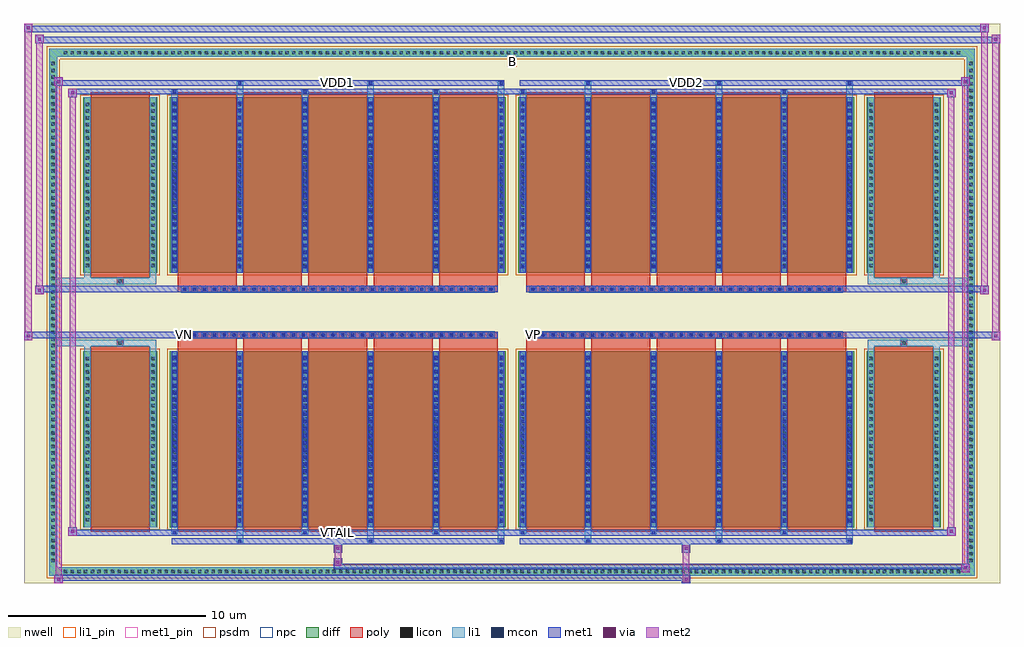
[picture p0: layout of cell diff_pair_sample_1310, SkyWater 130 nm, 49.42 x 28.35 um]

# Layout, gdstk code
import gdstk
lib = gdstk.Library(unit=1e-6, precision=5e-09)
def R(c, l, rs):  # rectangles x0, y0, x1, y1
    for r in rs: c.add(gdstk.rectangle(r[:2], r[2:], *l))
def A(c, l, x, y, w, h, nx, ny, dx, dy):  # array of equal rectangles
    R(c, l, [(x+i*dx, y+j*dy, x+i*dx+w, y+j*dy+h) for i in range(nx) for j in range(ny)])
def P(c, l, *ps):  # polygons
    for p in ps: c.add(gdstk.Polygon(p, *l))
nwell = (64, 20)
diff = (65, 20)
poly = (66, 20)
licon = (66, 44)
li1_pin = (67, 16)
li1 = (67, 20)
mcon = (67, 44)
met1_pin = (68, 16)
met1 = (68, 20)
via = (68, 44)
met2 = (69, 20)
psdm = (94, 20)
npc = (95, 20)

diff_pair_sample_1310 = lib.new_cell('diff_pair_sample_1310')
R(diff_pair_sample_1310, nwell, [(-24.71,-13.74,24.71,14.61), (-22.03,-11.93,-0.01,-0.795), (0.01,-11.93,22.03,-0.795), (-22.03,0.795,-0.01,11.93), (0.01,0.795,22.03,11.93)])
A(diff_pair_sample_1310, diff, -22.815, -13.34, 0.41, 0.41, 134, 2, 0.34, 26.27)
A(diff_pair_sample_1310, diff, -23.44, -12.785, 0.41, 0.41, 1, 75, 0, 0.34)
A(diff_pair_sample_1310, diff, 23.03, -12.785, 0.41, 0.41, 1, 75, 0, 0.34)
R(diff_pair_sample_1310, diff, [(-22.815,-13.34,22.815,-12.93), (-23.44,-12.785,-23.03,12.785), (23.03,-12.785,23.44,12.785), (-21.72,-10.885,-17.96,-1.985), (-17.32,-10.885,-0.32,-1.985), (0.32,-10.885,17.32,-1.985), (17.96,-10.885,21.72,-1.985), (-21.72,1.985,-17.96,10.885), (-17.32,1.985,-0.32,10.885), (0.32,1.985,17.32,10.885), (17.96,1.985,21.72,10.885), (-22.815,12.93,22.815,13.34)])
P(diff_pair_sample_1310, diff, [(23.44,13.34),(-23.44,13.34),(-23.44,-12.93),(-23.03,-12.93),(-23.03,12.93),(23.03,12.93),(23.03,-12.93),(-23.03,-12.93),(-23.44,-12.93),(-23.44,-13.34),(23.44,-13.34)])
A(diff_pair_sample_1310, poly, -16.93, -11.135, 2.98, 9.4, 5, 2, 3.31, 12.87)
A(diff_pair_sample_1310, poly, 0.71, -11.135, 2.98, 9.4, 5, 2, 3.31, 12.87)
A(diff_pair_sample_1310, poly, -16.93, -1.735, 2.98, 0.41, 5, 2, 3.31, 3.06)
A(diff_pair_sample_1310, poly, 0.71, -1.735, 2.98, 0.41, 5, 2, 3.31, 3.06)
A(diff_pair_sample_1310, poly, -16.735, -1.325, 0.33, 0.33, 32, 2, 0.5, 2.32)
A(diff_pair_sample_1310, poly, 0.905, -1.325, 0.33, 0.33, 32, 2, 0.5, 2.32)
R(diff_pair_sample_1310, poly, [(-21.33,-11.135,-18.35,-1.735), (18.35,-11.135,21.33,-1.735), (-20.005,-1.735,-19.675,-1.405), (-20.005,-1.735,-19.675,-1.405), (19.675,-1.735,20.005,-1.405), (19.675,-1.735,20.005,-1.405), (-16.93,-1.325,-0.71,-0.995), (0.71,-1.325,16.93,-0.995), (-16.93,0.995,-0.71,1.325), (0.71,0.995,16.93,1.325), (-20.005,1.405,-19.675,1.735), (-20.005,1.405,-19.675,1.735), (19.675,1.405,20.005,1.735), (19.675,1.405,20.005,1.735), (-21.33,1.735,-18.35,11.135), (18.35,1.735,21.33,11.135)])
A(diff_pair_sample_1310, licon, -22.695, -13.22, 0.17, 0.17, 134, 2, 0.34, 26.27)
A(diff_pair_sample_1310, licon, -23.32, -12.665, 0.17, 0.17, 1, 75, 0, 0.34)
A(diff_pair_sample_1310, licon, 23.15, -12.665, 0.17, 0.17, 1, 75, 0, 0.34)
A(diff_pair_sample_1310, licon, -21.58, -10.6, 0.17, 0.17, 1, 25, 0, 0.34)
A(diff_pair_sample_1310, licon, -18.27, -10.6, 0.17, 0.17, 1, 25, 0, 0.34)
A(diff_pair_sample_1310, licon, -17.18, -10.6, 0.17, 0.17, 6, 25, 3.31, 0.34)
A(diff_pair_sample_1310, licon, 0.46, -10.6, 0.17, 0.17, 6, 25, 3.31, 0.34)
A(diff_pair_sample_1310, licon, 18.1, -10.6, 0.17, 0.17, 1, 25, 0, 0.34)
A(diff_pair_sample_1310, licon, 21.41, -10.6, 0.17, 0.17, 1, 25, 0, 0.34)
A(diff_pair_sample_1310, licon, -16.655, -1.245, 0.17, 0.17, 32, 2, 0.5, 2.32)
A(diff_pair_sample_1310, licon, 0.985, -1.245, 0.17, 0.17, 32, 2, 0.5, 2.32)
A(diff_pair_sample_1310, licon, -21.58, 2.27, 0.17, 0.17, 1, 25, 0, 0.34)
A(diff_pair_sample_1310, licon, -18.27, 2.27, 0.17, 0.17, 1, 25, 0, 0.34)
A(diff_pair_sample_1310, licon, -17.18, 2.27, 0.17, 0.17, 6, 25, 3.31, 0.34)
A(diff_pair_sample_1310, licon, 0.46, 2.27, 0.17, 0.17, 6, 25, 3.31, 0.34)
A(diff_pair_sample_1310, licon, 18.1, 2.27, 0.17, 0.17, 1, 25, 0, 0.34)
A(diff_pair_sample_1310, licon, 21.41, 2.27, 0.17, 0.17, 1, 25, 0, 0.34)
R(diff_pair_sample_1310, licon, [(-19.925,-1.655,-19.755,-1.485), (19.755,-1.655,19.925,-1.485), (-19.925,1.485,-19.755,1.655), (19.755,1.485,19.925,1.655)])
R(diff_pair_sample_1310, li1_pin, [(-0.25,12.43,0.25,12.93)])
A(diff_pair_sample_1310, li1, -22.775, -13.3, 0.33, 0.33, 134, 2, 0.34, 26.27)
A(diff_pair_sample_1310, li1, -23.4, -12.745, 0.33, 0.33, 1, 75, 0, 0.34)
A(diff_pair_sample_1310, li1, 23.07, -12.745, 0.33, 0.33, 1, 75, 0, 0.34)
A(diff_pair_sample_1310, li1, -13.95, -11.69, 0.33, 0.805, 3, 2, 6.62, 22.575)
A(diff_pair_sample_1310, li1, -13.87, -11.69, 0.17, 0.17, 3, 2, 6.62, 23.21)
A(diff_pair_sample_1310, li1, 3.69, -11.69, 0.33, 0.805, 3, 2, 6.62, 22.575)
A(diff_pair_sample_1310, li1, 3.77, -11.69, 0.17, 0.17, 3, 2, 6.62, 23.21)
A(diff_pair_sample_1310, li1, -17.26, -11.26, 0.33, 0.375, 3, 2, 6.62, 22.145)
A(diff_pair_sample_1310, li1, -17.18, -11.26, 0.17, 0.17, 3, 2, 6.62, 22.35)
A(diff_pair_sample_1310, li1, 0.38, -11.26, 0.33, 0.375, 3, 2, 6.62, 22.145)
A(diff_pair_sample_1310, li1, 0.46, -11.26, 0.17, 0.17, 3, 2, 6.62, 22.35)
A(diff_pair_sample_1310, li1, -17.26, -10.885, 0.33, 8.9, 6, 2, 3.31, 12.87)
A(diff_pair_sample_1310, li1, 0.38, -10.885, 0.33, 8.9, 6, 2, 3.31, 12.87)
A(diff_pair_sample_1310, li1, -21.66, -10.68, 0.33, 0.33, 1, 25, 0, 0.34)
A(diff_pair_sample_1310, li1, -18.35, -10.68, 0.33, 0.33, 1, 25, 0, 0.34)
A(diff_pair_sample_1310, li1, -17.26, -10.68, 0.33, 0.33, 6, 25, 3.31, 0.34)
A(diff_pair_sample_1310, li1, 0.38, -10.68, 0.33, 0.33, 6, 25, 3.31, 0.34)
A(diff_pair_sample_1310, li1, 18.02, -10.68, 0.33, 0.33, 1, 25, 0, 0.34)
A(diff_pair_sample_1310, li1, 21.33, -10.68, 0.33, 0.33, 1, 25, 0, 0.34)
A(diff_pair_sample_1310, li1, -17.18, -10.66, 0.17, 0.17, 6, 24, 3.31, 0.36)
A(diff_pair_sample_1310, li1, -17.18, -10.66, 0.17, 8.45, 6, 2, 3.31, 12.87)
A(diff_pair_sample_1310, li1, 0.46, -10.66, 0.17, 0.17, 6, 24, 3.31, 0.36)
A(diff_pair_sample_1310, li1, 0.46, -10.66, 0.17, 8.45, 6, 2, 3.31, 12.87)
A(diff_pair_sample_1310, li1, -16.735, -1.325, 0.33, 0.33, 32, 2, 0.5, 2.32)
A(diff_pair_sample_1310, li1, 0.905, -1.325, 0.33, 0.33, 32, 2, 0.5, 2.32)
A(diff_pair_sample_1310, li1, -21.66, 2.19, 0.33, 0.33, 1, 25, 0, 0.34)
A(diff_pair_sample_1310, li1, -18.35, 2.19, 0.33, 0.33, 1, 25, 0, 0.34)
A(diff_pair_sample_1310, li1, -17.26, 2.19, 0.33, 0.33, 6, 25, 3.31, 0.34)
A(diff_pair_sample_1310, li1, 0.38, 2.19, 0.33, 0.33, 6, 25, 3.31, 0.34)
A(diff_pair_sample_1310, li1, 18.02, 2.19, 0.33, 0.33, 1, 25, 0, 0.34)
A(diff_pair_sample_1310, li1, 21.33, 2.19, 0.33, 0.33, 1, 25, 0, 0.34)
A(diff_pair_sample_1310, li1, -17.18, 2.21, 0.17, 0.17, 6, 24, 3.31, 0.36)
A(diff_pair_sample_1310, li1, 0.46, 2.21, 0.17, 0.17, 6, 24, 3.31, 0.36)
R(diff_pair_sample_1310, li1, [(-23.44,-13.34,-23.03,-12.93), (-23.44,-13.34,-23.03,-12.93), (-23.03,-13.34,23.03,-12.93), (23.03,-13.34,23.44,-12.93), (23.03,-13.34,23.44,-12.93), (-23.44,-12.93,-23.03,12.93), (23.03,-12.93,23.44,12.93), (-21.66,-10.885,-21.33,-1.985), (-18.35,-10.885,-18.02,-1.985), (18.02,-10.885,18.35,-1.985), (21.33,-10.885,21.66,-1.985), (-21.66,-1.985,-21.33,-1.405), (-18.35,-1.985,-18.02,-1.405), (18.02,-1.985,18.35,-1.405), (21.33,-1.985,21.66,-1.405), (-23.44,-1.735,-20.005,-1.405), (-21.66,-1.735,-20.005,-1.405), (-20.005,-1.735,-19.675,-1.405), (-19.675,-1.735,-18.02,-1.405), (18.02,-1.735,19.675,-1.405), (19.675,-1.735,20.005,-1.405), (19.675,-1.735,23.44,-1.405), (20.005,-1.735,21.66,-1.405), (-23.44,1.405,-20.005,1.735), (-21.66,1.405,-20.005,1.735), (-21.66,1.405,-21.33,1.985), (-20.005,1.405,-19.675,1.735), (-19.675,1.405,-18.02,1.735), (-18.35,1.405,-18.02,1.985), (18.02,1.405,19.675,1.735), (18.02,1.405,18.35,1.985), (19.675,1.405,20.005,1.735), (19.675,1.405,23.44,1.735), (20.005,1.405,21.66,1.735), (21.33,1.405,21.66,1.985), (-21.66,1.985,-21.33,10.885), (-18.35,1.985,-18.02,10.885), (18.02,1.985,18.35,10.885), (21.33,1.985,21.66,10.885), (-23.44,12.93,-23.03,13.34), (-23.44,12.93,-23.03,13.34), (-23.03,12.93,23.03,13.34), (23.03,12.93,23.44,13.34), (23.03,12.93,23.44,13.34)])
A(diff_pair_sample_1310, mcon, -13.87, -11.69, 0.17, 0.17, 3, 2, 6.62, 23.21)
A(diff_pair_sample_1310, mcon, 3.77, -11.69, 0.17, 0.17, 3, 2, 6.62, 23.21)
A(diff_pair_sample_1310, mcon, -17.18, -11.26, 0.17, 0.17, 3, 2, 6.62, 22.35)
A(diff_pair_sample_1310, mcon, 0.46, -11.26, 0.17, 0.17, 3, 2, 6.62, 22.35)
A(diff_pair_sample_1310, mcon, -17.18, -10.66, 0.17, 0.17, 6, 24, 3.31, 0.36)
A(diff_pair_sample_1310, mcon, 0.46, -10.66, 0.17, 0.17, 6, 24, 3.31, 0.36)
A(diff_pair_sample_1310, mcon, -16.655, -1.245, 0.17, 0.17, 32, 2, 0.5, 2.32)
A(diff_pair_sample_1310, mcon, 0.985, -1.245, 0.17, 0.17, 32, 2, 0.5, 2.32)
A(diff_pair_sample_1310, mcon, -17.18, 2.21, 0.17, 0.17, 6, 24, 3.31, 0.36)
A(diff_pair_sample_1310, mcon, 0.46, 2.21, 0.17, 0.17, 6, 24, 3.31, 0.36)
R(diff_pair_sample_1310, met1_pin, [(-8.955,-11.3,-8.685,-11.03), (-16.705,-1.285,-16.435,-1.015), (0.935,-1.285,1.205,-1.015), (-8.955,11.48,-8.685,11.75), (8.685,11.48,8.955,11.75)])
A(diff_pair_sample_1310, met1, -13.93, -11.75, 0.29, 0.29, 3, 2, 6.62, 23.21)
A(diff_pair_sample_1310, met1, 3.71, -11.75, 0.29, 0.29, 3, 2, 6.62, 23.21)
A(diff_pair_sample_1310, met1, -17.24, -11.32, 0.29, 0.29, 3, 2, 6.62, 22.35)
A(diff_pair_sample_1310, met1, 0.4, -11.32, 0.29, 0.29, 3, 2, 6.62, 22.35)
A(diff_pair_sample_1310, met1, -17.24, -10.885, 0.29, 8.9, 6, 2, 3.31, 12.87)
A(diff_pair_sample_1310, met1, 0.4, -10.885, 0.29, 8.9, 6, 2, 3.31, 12.87)
A(diff_pair_sample_1310, met1, -17.24, -10.72, 0.29, 0.29, 6, 24, 3.31, 0.36)
A(diff_pair_sample_1310, met1, 0.4, -10.72, 0.29, 0.29, 6, 24, 3.31, 0.36)
A(diff_pair_sample_1310, met1, -16.715, -1.305, 0.29, 0.29, 32, 2, 0.5, 2.32)
A(diff_pair_sample_1310, met1, 0.925, -1.305, 0.29, 0.29, 32, 2, 0.5, 2.32)
A(diff_pair_sample_1310, met1, -17.24, 2.15, 0.29, 0.29, 6, 24, 3.31, 0.36)
A(diff_pair_sample_1310, met1, 0.4, 2.15, 0.29, 0.29, 6, 24, 3.31, 0.36)
R(diff_pair_sample_1310, met1, [(-23.17,-13.74,-22.74,-13.31), (8.605,-13.74,9.035,-13.31), (-23.17,-13.6,9.035,-13.31), (22.74,-13.17,23.17,-12.74), (-9.035,-13.03,23.17,-12.74), (-9.035,-12.89,-8.605,-12.46), (-9.035,-12.18,-8.605,-11.75), (8.605,-12.18,9.035,-11.75), (-17.24,-11.75,-0.4,-11.46), (0.4,-11.75,17.24,-11.46), (-22.46,-11.32,-22.03,-10.89), (-22.46,-11.32,-17.24,-11.03), (-17.24,-11.32,-0.4,-11.03), (-0.4,-11.32,0.4,-11.03), (0.4,-11.32,17.24,-11.03), (17.24,-11.32,22.46,-11.03), (22.03,-11.32,22.46,-10.89), (-24.71,-1.425,-24.28,-0.995), (24.28,-1.425,24.71,-0.995), (-24.71,-1.325,-0.71,-0.995), (-16.93,-1.325,-0.71,-0.995), (0.71,-1.325,16.93,-0.995), (0.71,-1.325,24.71,-0.995), (-24.14,0.895,-23.71,1.325), (23.71,0.895,24.14,1.325), (-24.14,0.995,-16.93,1.325), (-16.93,0.995,-0.71,1.325), (0.71,0.995,16.93,1.325), (16.93,0.995,24.14,1.325), (-22.46,10.89,-22.03,11.32), (22.03,10.89,22.46,11.32), (-22.46,11.03,-17.24,11.32), (-17.24,11.03,-0.4,11.32), (-0.4,11.03,0.4,11.32), (0.4,11.03,17.24,11.32), (17.24,11.03,22.46,11.32), (-23.17,11.46,-22.74,11.89), (-23.17,11.46,-17.24,11.75), (-17.24,11.46,-0.4,11.75), (0.4,11.46,17.24,11.75), (17.24,11.46,23.17,11.75), (22.74,11.46,23.17,11.89), (-24.14,13.61,-23.71,14.04), (-24.14,13.61,-22.03,13.94), (-22.03,13.61,22.03,13.94), (22.03,13.61,24.71,13.94), (24.28,13.61,24.71,14.04), (-24.71,14.18,-24.28,14.61), (-24.71,14.18,-22.03,14.51), (-22.03,14.18,22.03,14.51), (22.03,14.18,24.14,14.51), (23.71,14.18,24.14,14.61)])
R(diff_pair_sample_1310, via, [(-23.03,-13.6,-22.88,-13.45), (8.745,-13.6,8.895,-13.45), (22.88,-13.03,23.03,-12.88), (-8.895,-12.75,-8.745,-12.6), (-8.895,-12.04,-8.745,-11.89), (8.745,-12.04,8.895,-11.89), (-22.32,-11.18,-22.17,-11.03), (22.17,-11.18,22.32,-11.03), (-24.57,-1.285,-24.42,-1.135), (24.42,-1.285,24.57,-1.135), (-24,1.035,-23.85,1.185), (23.85,1.035,24,1.185), (-22.32,11.03,-22.17,11.18), (22.17,11.03,22.32,11.18), (-23.03,11.6,-22.88,11.75), (22.88,11.6,23.03,11.75), (-24,13.75,-23.85,13.9), (24.42,13.75,24.57,13.9), (-24.57,14.32,-24.42,14.47), (23.85,14.32,24,14.47)])
R(diff_pair_sample_1310, met2, [(-23.17,-13.74,-22.74,-13.31), (-23.1,-13.74,-22.81,11.89), (-22.81,-13.74,-22.74,-13.31), (-23.12,-13.69,-22.79,-13.36), (8.655,-13.69,8.985,-13.36), (8.655,-13.36,8.985,-12.13), (22.74,-13.17,23.17,-12.74), (22.81,-13.17,23.1,11.89), (23.1,-13.17,23.17,-12.74), (22.79,-13.12,23.12,-12.79), (-8.985,-12.84,-8.655,-12.51), (-8.985,-12.51,-8.655,-12.13), (-8.985,-12.13,-8.655,-11.8), (8.655,-12.13,8.985,-11.8), (-22.46,-11.32,-22.03,-10.89), (-22.39,-11.32,-22.1,11.32), (-22.1,-11.32,-22.03,-10.89), (22.03,-11.32,22.46,-10.89), (22.1,-11.32,22.39,11.32), (22.39,-11.32,22.46,-10.89), (-22.41,-11.27,-22.08,-10.94), (22.08,-11.27,22.41,-10.94), (-24.71,-1.425,-24.28,-0.995), (-24.66,-1.425,-24.33,14.61), (-24.33,-1.425,-24.28,-0.995), (24.28,-1.425,24.71,-0.995), (24.33,-1.425,24.66,14.04), (24.66,-1.425,24.71,-0.995), (-24.66,-1.375,-24.33,-1.045), (24.33,-1.375,24.66,-1.045), (-24.14,0.895,-23.71,1.325), (-24.09,0.895,-23.76,14.04), (-23.76,0.895,-23.71,1.325), (23.71,0.895,24.14,1.325), (23.76,0.895,24.09,14.61), (24.09,0.895,24.14,1.325), (-24.09,0.945,-23.76,1.275), (23.76,0.945,24.09,1.275), (-22.46,10.89,-22.03,11.32), (-22.1,10.89,-22.03,11.32), (22.03,10.89,22.46,11.32), (22.39,10.89,22.46,11.32), (-22.41,10.94,-22.08,11.27), (22.08,10.94,22.41,11.27), (-23.17,11.46,-22.74,11.89), (-22.81,11.46,-22.74,11.89), (22.74,11.46,23.17,11.89), (23.1,11.46,23.17,11.89), (-23.12,11.51,-22.79,11.84), (22.79,11.51,23.12,11.84), (-24.14,13.61,-23.71,14.04), (-23.76,13.61,-23.71,14.04), (24.28,13.61,24.71,14.04), (24.66,13.61,24.71,14.04), (-24.09,13.66,-23.76,13.99), (24.33,13.66,24.66,13.99), (-24.71,14.18,-24.28,14.61), (-24.33,14.18,-24.28,14.61), (23.71,14.18,24.14,14.61), (24.09,14.18,24.14,14.61), (-24.66,14.23,-24.33,14.56), (23.76,14.23,24.09,14.56)])
R(diff_pair_sample_1310, psdm, [(-21.85,-11.015,-17.83,-1.855), (-17.45,-11.015,-0.19,-1.855), (0.19,-11.015,17.45,-1.855), (17.83,-11.015,21.85,-1.855), (-21.85,1.855,-17.83,11.015), (-17.45,1.855,-0.19,11.015), (0.19,1.855,17.45,11.015), (17.83,1.855,21.85,11.015)])
P(diff_pair_sample_1310, psdm, [(23.57,13.47),(-23.57,13.47),(-23.57,-12.8),(-22.9,-12.8),(-22.9,12.8),(22.9,12.8),(22.9,-12.8),(-22.9,-12.8),(-23.57,-12.8),(-23.57,-13.47),(23.57,-13.47)])
A(diff_pair_sample_1310, npc, -16.755, -1.345, 0.37, 0.37, 32, 2, 0.5, 2.32)
A(diff_pair_sample_1310, npc, 0.885, -1.345, 0.37, 0.37, 32, 2, 0.5, 2.32)
R(diff_pair_sample_1310, npc, [(-20.025,-1.755,-19.655,-1.385), (19.655,-1.755,20.025,-1.385), (-16.755,-1.345,-15.885,-0.975), (-16.755,-1.345,-15.885,-0.975), (-16.255,-1.345,-15.385,-0.975), (-16.255,-1.345,-15.385,-0.975), (-15.755,-1.345,-14.885,-0.975), (-15.755,-1.345,-14.885,-0.975), (-15.255,-1.345,-14.385,-0.975), (-15.255,-1.345,-14.385,-0.975), (-14.755,-1.345,-13.885,-0.975), (-14.755,-1.345,-13.885,-0.975), (-14.255,-1.345,-13.385,-0.975), (-14.255,-1.345,-13.385,-0.975), (-13.755,-1.345,-12.885,-0.975), (-13.755,-1.345,-12.885,-0.975), (-13.255,-1.345,-12.385,-0.975), (-13.255,-1.345,-12.385,-0.975), (-12.755,-1.345,-11.885,-0.975), (-12.755,-1.345,-11.885,-0.975), (-12.255,-1.345,-11.385,-0.975), (-12.255,-1.345,-11.385,-0.975), (-11.755,-1.345,-10.885,-0.975), (-11.755,-1.345,-10.885,-0.975), (-11.255,-1.345,-10.385,-0.975), (-11.255,-1.345,-10.385,-0.975), (-10.755,-1.345,-9.885,-0.975), (-10.755,-1.345,-9.885,-0.975), (-10.255,-1.345,-9.385,-0.975), (-10.255,-1.345,-9.385,-0.975), (-9.755,-1.345,-8.885,-0.975), (-9.755,-1.345,-8.885,-0.975), (-9.255,-1.345,-8.385,-0.975), (-9.255,-1.345,-8.385,-0.975), (-8.755,-1.345,-7.885,-0.975), (-8.755,-1.345,-7.885,-0.975), (-8.255,-1.345,-7.385,-0.975), (-8.255,-1.345,-7.385,-0.975), (-7.755,-1.345,-6.885,-0.975), (-7.755,-1.345,-6.885,-0.975), (-7.255,-1.345,-6.385,-0.975), (-7.255,-1.345,-6.385,-0.975), (-6.755,-1.345,-5.885,-0.975), (-6.755,-1.345,-5.885,-0.975), (-6.255,-1.345,-5.385,-0.975), (-6.255,-1.345,-5.385,-0.975), (-5.755,-1.345,-4.885,-0.975), (-5.755,-1.345,-4.885,-0.975), (-5.255,-1.345,-4.385,-0.975), (-5.255,-1.345,-4.385,-0.975), (-4.755,-1.345,-3.885,-0.975), (-4.755,-1.345,-3.885,-0.975), (-4.255,-1.345,-3.385,-0.975), (-4.255,-1.345,-3.385,-0.975), (-3.755,-1.345,-2.885,-0.975), (-3.755,-1.345,-2.885,-0.975), (-3.255,-1.345,-2.385,-0.975), (-3.255,-1.345,-2.385,-0.975), (-2.755,-1.345,-1.885,-0.975), (-2.755,-1.345,-1.885,-0.975), (-2.255,-1.345,-1.385,-0.975), (-2.255,-1.345,-1.385,-0.975), (-1.755,-1.345,-0.885,-0.975), (-1.755,-1.345,-0.885,-0.975), (0.885,-1.345,1.755,-0.975), (0.885,-1.345,1.755,-0.975), (1.385,-1.345,2.255,-0.975), (1.385,-1.345,2.255,-0.975), (1.885,-1.345,2.755,-0.975), (1.885,-1.345,2.755,-0.975), (2.385,-1.345,3.255,-0.975), (2.385,-1.345,3.255,-0.975), (2.885,-1.345,3.755,-0.975), (2.885,-1.345,3.755,-0.975), (3.385,-1.345,4.255,-0.975), (3.385,-1.345,4.255,-0.975), (3.885,-1.345,4.755,-0.975), (3.885,-1.345,4.755,-0.975), (4.385,-1.345,5.255,-0.975), (4.385,-1.345,5.255,-0.975), (4.885,-1.345,5.755,-0.975), (4.885,-1.345,5.755,-0.975), (5.385,-1.345,6.255,-0.975), (5.385,-1.345,6.255,-0.975), (5.885,-1.345,6.755,-0.975), (5.885,-1.345,6.755,-0.975), (6.385,-1.345,7.255,-0.975), (6.385,-1.345,7.255,-0.975), (6.885,-1.345,7.755,-0.975), (6.885,-1.345,7.755,-0.975), (7.385,-1.345,8.255,-0.975), (7.385,-1.345,8.255,-0.975), (7.885,-1.345,8.755,-0.975), (7.885,-1.345,8.755,-0.975), (8.385,-1.345,9.255,-0.975), (8.385,-1.345,9.255,-0.975), (8.885,-1.345,9.755,-0.975), (8.885,-1.345,9.755,-0.975), (9.385,-1.345,10.255,-0.975), (9.385,-1.345,10.255,-0.975), (9.885,-1.345,10.755,-0.975), (9.885,-1.345,10.755,-0.975), (10.385,-1.345,11.255,-0.975), (10.385,-1.345,11.255,-0.975), (10.885,-1.345,11.755,-0.975), (10.885,-1.345,11.755,-0.975), (11.385,-1.345,12.255,-0.975), (11.385,-1.345,12.255,-0.975), (11.885,-1.345,12.755,-0.975), (11.885,-1.345,12.755,-0.975), (12.385,-1.345,13.255,-0.975), (12.385,-1.345,13.255,-0.975), (12.885,-1.345,13.755,-0.975), (12.885,-1.345,13.755,-0.975), (13.385,-1.345,14.255,-0.975), (13.385,-1.345,14.255,-0.975), (13.885,-1.345,14.755,-0.975), (13.885,-1.345,14.755,-0.975), (14.385,-1.345,15.255,-0.975), (14.385,-1.345,15.255,-0.975), (14.885,-1.345,15.755,-0.975), (14.885,-1.345,15.755,-0.975), (15.385,-1.345,16.255,-0.975), (15.385,-1.345,16.255,-0.975), (15.885,-1.345,16.755,-0.975), (15.885,-1.345,16.755,-0.975), (-16.755,0.975,-15.885,1.345), (-16.755,0.975,-15.885,1.345), (-16.255,0.975,-15.385,1.345), (-16.255,0.975,-15.385,1.345), (-15.755,0.975,-14.885,1.345), (-15.755,0.975,-14.885,1.345), (-15.255,0.975,-14.385,1.345), (-15.255,0.975,-14.385,1.345), (-14.755,0.975,-13.885,1.345), (-14.755,0.975,-13.885,1.345), (-14.255,0.975,-13.385,1.345), (-14.255,0.975,-13.385,1.345), (-13.755,0.975,-12.885,1.345), (-13.755,0.975,-12.885,1.345), (-13.255,0.975,-12.385,1.345), (-13.255,0.975,-12.385,1.345), (-12.755,0.975,-11.885,1.345), (-12.755,0.975,-11.885,1.345), (-12.255,0.975,-11.385,1.345), (-12.255,0.975,-11.385,1.345), (-11.755,0.975,-10.885,1.345), (-11.755,0.975,-10.885,1.345), (-11.255,0.975,-10.385,1.345), (-11.255,0.975,-10.385,1.345), (-10.755,0.975,-9.885,1.345), (-10.755,0.975,-9.885,1.345), (-10.255,0.975,-9.385,1.345), (-10.255,0.975,-9.385,1.345), (-9.755,0.975,-8.885,1.345), (-9.755,0.975,-8.885,1.345), (-9.255,0.975,-8.385,1.345), (-9.255,0.975,-8.385,1.345), (-8.755,0.975,-7.885,1.345), (-8.755,0.975,-7.885,1.345), (-8.255,0.975,-7.385,1.345), (-8.255,0.975,-7.385,1.345), (-7.755,0.975,-6.885,1.345), (-7.755,0.975,-6.885,1.345), (-7.255,0.975,-6.385,1.345), (-7.255,0.975,-6.385,1.345), (-6.755,0.975,-5.885,1.345), (-6.755,0.975,-5.885,1.345), (-6.255,0.975,-5.385,1.345), (-6.255,0.975,-5.385,1.345), (-5.755,0.975,-4.885,1.345), (-5.755,0.975,-4.885,1.345), (-5.255,0.975,-4.385,1.345), (-5.255,0.975,-4.385,1.345), (-4.755,0.975,-3.885,1.345), (-4.755,0.975,-3.885,1.345), (-4.255,0.975,-3.385,1.345), (-4.255,0.975,-3.385,1.345), (-3.755,0.975,-2.885,1.345), (-3.755,0.975,-2.885,1.345), (-3.255,0.975,-2.385,1.345), (-3.255,0.975,-2.385,1.345), (-2.755,0.975,-1.885,1.345), (-2.755,0.975,-1.885,1.345), (-2.255,0.975,-1.385,1.345), (-2.255,0.975,-1.385,1.345), (-1.755,0.975,-0.885,1.345), (-1.755,0.975,-0.885,1.345), (0.885,0.975,1.755,1.345), (0.885,0.975,1.755,1.345), (1.385,0.975,2.255,1.345), (1.385,0.975,2.255,1.345), (1.885,0.975,2.755,1.345), (1.885,0.975,2.755,1.345), (2.385,0.975,3.255,1.345), (2.385,0.975,3.255,1.345), (2.885,0.975,3.755,1.345), (2.885,0.975,3.755,1.345), (3.385,0.975,4.255,1.345), (3.385,0.975,4.255,1.345), (3.885,0.975,4.755,1.345), (3.885,0.975,4.755,1.345), (4.385,0.975,5.255,1.345), (4.385,0.975,5.255,1.345), (4.885,0.975,5.755,1.345), (4.885,0.975,5.755,1.345), (5.385,0.975,6.255,1.345), (5.385,0.975,6.255,1.345), (5.885,0.975,6.755,1.345), (5.885,0.975,6.755,1.345), (6.385,0.975,7.255,1.345), (6.385,0.975,7.255,1.345), (6.885,0.975,7.755,1.345), (6.885,0.975,7.755,1.345), (7.385,0.975,8.255,1.345), (7.385,0.975,8.255,1.345), (7.885,0.975,8.755,1.345), (7.885,0.975,8.755,1.345), (8.385,0.975,9.255,1.345), (8.385,0.975,9.255,1.345), (8.885,0.975,9.755,1.345), (8.885,0.975,9.755,1.345), (9.385,0.975,10.255,1.345), (9.385,0.975,10.255,1.345), (9.885,0.975,10.755,1.345), (9.885,0.975,10.755,1.345), (10.385,0.975,11.255,1.345), (10.385,0.975,11.255,1.345), (10.885,0.975,11.755,1.345), (10.885,0.975,11.755,1.345), (11.385,0.975,12.255,1.345), (11.385,0.975,12.255,1.345), (11.885,0.975,12.755,1.345), (11.885,0.975,12.755,1.345), (12.385,0.975,13.255,1.345), (12.385,0.975,13.255,1.345), (12.885,0.975,13.755,1.345), (12.885,0.975,13.755,1.345), (13.385,0.975,14.255,1.345), (13.385,0.975,14.255,1.345), (13.885,0.975,14.755,1.345), (13.885,0.975,14.755,1.345), (14.385,0.975,15.255,1.345), (14.385,0.975,15.255,1.345), (14.885,0.975,15.755,1.345), (14.885,0.975,15.755,1.345), (15.385,0.975,16.255,1.345), (15.385,0.975,16.255,1.345), (15.885,0.975,16.755,1.345), (15.885,0.975,16.755,1.345), (-20.025,1.385,-19.655,1.755), (19.655,1.385,20.025,1.755)])
diff_pair_sample_1310.add(gdstk.Label('VTAIL', (-8.82,-11.165), layer=68, texttype=5))
diff_pair_sample_1310.add(gdstk.Label('VN', (-16.57,-1.15), layer=68, texttype=5))
diff_pair_sample_1310.add(gdstk.Label('VP', (1.07,-1.15), layer=68, texttype=5))
diff_pair_sample_1310.add(gdstk.Label('B', (0,12.68), layer=67, texttype=5))
diff_pair_sample_1310.add(gdstk.Label('VDD2', (8.82,11.615), layer=68, texttype=5))
diff_pair_sample_1310.add(gdstk.Label('VDD1', (-8.82,11.615), layer=68, texttype=5))

lib.write_gds('diff_pair_sample_1310.gds')
